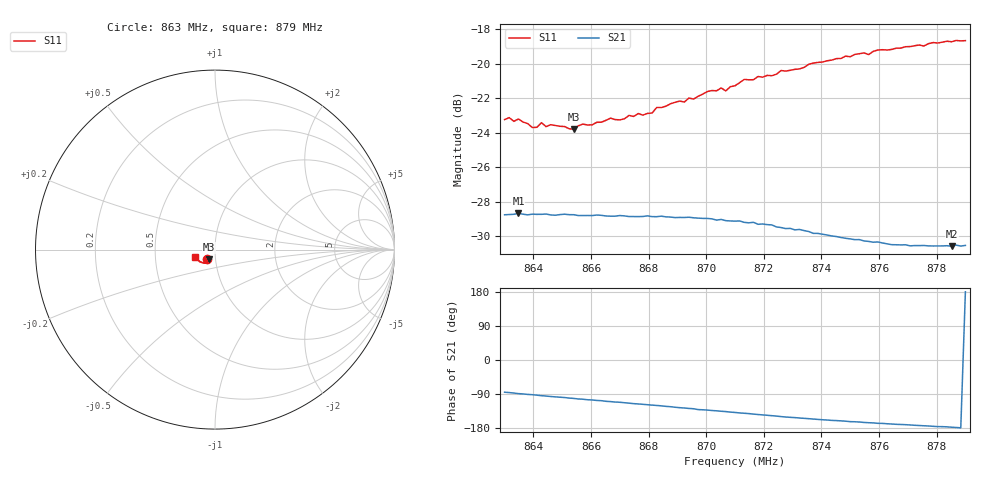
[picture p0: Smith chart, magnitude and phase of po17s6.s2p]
# HZ S RI R 50
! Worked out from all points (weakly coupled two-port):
!   101 points, 863 MHz to 879 MHz, reference 50 ohm
!   highest |S21| = -28.68 dB at 863.48 MHz (marker M1); lowest = -30.6 dB at 878.52 MHz (marker M2)
!   lowest |S11| = -23.8 dB at 865.4 MHz (marker M3), VSWR 1.14, Z = 46.4 - j5.05 ohm
!   |S11| at or under -10 dB: start of sweep to end of sweep
!   S12 and S22 are empty: the file has one direction only
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8.63e8  -0.0447 -0.0525  0.0032 -0.0364  0 0  0 0
8.6348e8  -0.0434 -0.0538  0.000816 -0.0368  0 0  0 0
8.6396e8  -0.0397 -0.0519  -0.000984 -0.0366  0 0  0 0
8.6428e8  -0.0393 -0.0548  -0.00268 -0.0365  0 0  0 0
8.6444e8  -0.0392 -0.0527  -0.00327 -0.0365  0 0  0 0
8.654e8  -0.035 -0.0543  -0.00722 -0.0358  0 0  0 0
8.6572e8  -0.035 -0.057  -0.0085 -0.0353  0 0  0 0
8.678e8  -0.0342 -0.0622  -0.0163 -0.0322  0 0  0 0
8.6844e8  -0.0371 -0.0648  -0.0186 -0.031  0 0  0 0
8.6956e8  -0.0404 -0.0679  -0.0223 -0.0279  0 0  0 0
8.7004e8  -0.0432 -0.0709  -0.0239 -0.0264  0 0  0 0
8.7052e8  -0.0459 -0.0716  -0.0251 -0.0249  0 0  0 0
8.7068e8  -0.0434 -0.0713  -0.0253 -0.0243  0 0  0 0
8.71e8  -0.0459 -0.0731  -0.0262 -0.0232  0 0  0 0
8.7132e8  -0.0516 -0.0738  -0.0268 -0.0221  0 0  0 0
8.7228e8  -0.0546 -0.0744  -0.0286 -0.0186  0 0  0 0
8.726e8  -0.0608 -0.0737  -0.0288 -0.0171  0 0  0 0
8.7324e8  -0.0629 -0.0733  -0.0295 -0.015  0 0  0 0
8.7372e8  -0.0671 -0.0747  -0.0294 -0.0132  0 0  0 0
8.7644e8  -0.0908 -0.0621  -0.0293 -0.00575  0 0  0 0
8.7852e8  -0.1064 -0.0458  -0.0296 -0.00134  0 0  0 0
8.79e8  -0.1099 -0.0392  -0.0298 0  0 0  0 0
